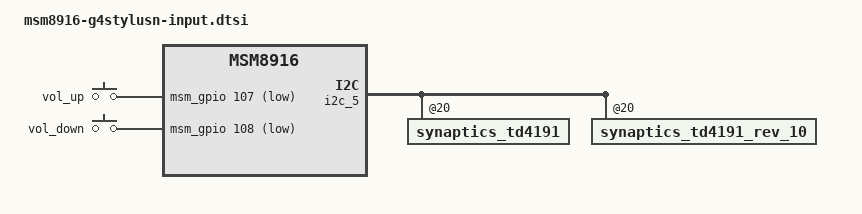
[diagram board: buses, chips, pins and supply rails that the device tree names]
/* Copyright (c) 2012, Code Aurora Forum. All rights reserved.
 *
 * This program is free software; you can redistribute it and/or modify
 * it under the terms of the GNU General Public License version 2 and
 * only version 2 as published by the Free Software Foundation.
 *
 * This program is distributed in the hope that it will be useful,
 * but WITHOUT ANY WARRANTY; without even the implied warranty of
 * MERCHANTABILITY or FITNESS FOR A PARTICULAR PURPOSE.  See the
 * GNU General Public License for more details.
 */

&i2c_5 {
	qcom,clk-freq-out = <400000>;

	synaptics_td4191_dsx@20 {
		status = "disable";
	};

	synaptics_td4191@20 {
		revision = "...rev_f";
		status = "ok";
		fw_image = "synaptics/lions/PLG463-V1.06-PR1860017-DS5.8.0.0.1135_50057086.img";
		recovery_fw_image = "synaptics/lions/PLG463-V1.06-PR1860017-DS5.8.0.0.1135_50057086.bin";
		panel_spec = "synaptics/lions/lions_limit.txt";
	};

	synaptics_td4191_rev_10@20 {
		revision = "rev_10...";
		status = "ok";
		fw_image = "synaptics/lions/PLG516-V1.10-PR1896364-DS5.8.0.0.1135_5005708A.img";
		recovery_fw_image = "synaptics/lions/PLG516-V1.10-PR1896364-DS5.8.0.0.1135_5005708A.bin";
		panel_spec = "synaptics/lions/lions_limit.txt";
	};
};

&soc {
	gpio_keys {
		vol_up {
			gpios = <&msm_gpio 107 0x1>;
		};

		vol_down {
			gpios = <&msm_gpio 108 0x1>;
		};
	};
};
